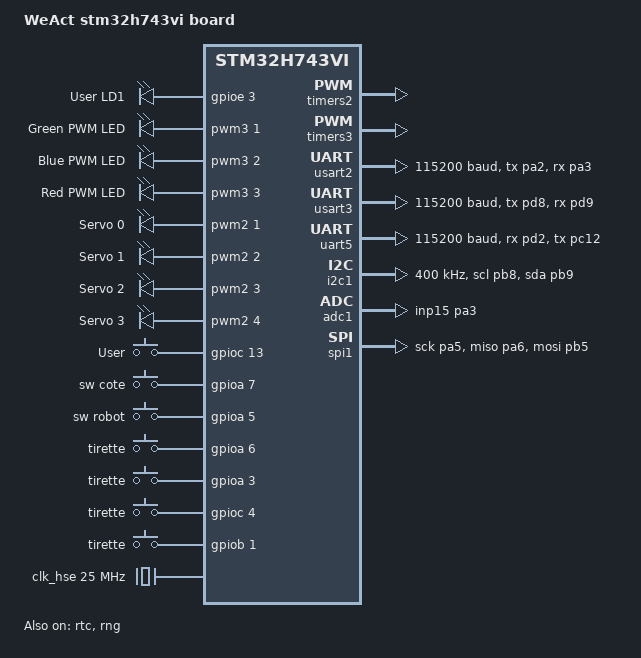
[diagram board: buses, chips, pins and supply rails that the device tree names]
/*
 * Copyright (c) 2020 Teslabs Engineering S.L.
 *
 * SPDX-License-Identifier: Apache-2.0
 */

/dts-v1/;
#include <st/h7/stm32h743Xi.dtsi>
#include <st/h7/stm32h743vitx-pinctrl.dtsi>

/ {
	model = "WeAct stm32h743vi board";
	compatible = "st,weact_stm32h743vi";

	chosen {
		zephyr,console = &usart3;
		zephyr,shell-uart = &usart3;
		zephyr,sram = &sram0;
		zephyr,flash = &flash0;
		zephyr,dtcm = &dtcm;
	};

	leds {
		compatible = "gpio-leds";
		blue_led: led_0 {
			gpios = <&gpioe 3 GPIO_ACTIVE_HIGH>;
			label = "User LD1";
		};
	};

	pwmleds {
		compatible = "pwm-leds";
		green_pwm_led: green_pwm_led {
			pwms = <&pwm3 1 0 PWM_POLARITY_NORMAL>;
			label = "Green PWM LED";
			status = "okay";
		};
		blue_pwm_led: blue_pwm_led {
			pwms = <&pwm3 2 0 PWM_POLARITY_NORMAL>;
			label = "Blue PWM LED";
			status = "okay";
		};
		red_pwm_led: red_pwm_led {
			pwms = <&pwm3 3 0 PWM_POLARITY_NORMAL>;
			label = "Red PWM LED";
			status = "okay";
		};
        servo_0: servo_0 {
            pwms = <&pwm2 1 0 PWM_POLARITY_NORMAL>;
            label = "Servo 0";
            status = "okay";
        };
        servo_1: servo_1 {
			pwms = <&pwm2 2 0 PWM_POLARITY_NORMAL>;
			label = "Servo 1";
			status = "okay";
		};
        servo_2: servo_2 {
			pwms = <&pwm2 3 0 PWM_POLARITY_NORMAL>;
			label = "Servo 2";
			status = "okay";
		};
		servo_3: servo_3 {
			pwms = <&pwm2 4 0 PWM_POLARITY_NORMAL>;
			label = "Servo 3";
			status = "okay";
		};
	};


    gpio_keys {
		user_button: button_user {
			label = "User";
			gpios = <&gpioc 13 GPIO_ACTIVE_HIGH>;
		};
        compatible = "gpio-keys";
        button0: button_0 {
            gpios = <&gpioa 7 GPIO_ACTIVE_HIGH>;
            label = "sw cote";
        };
        button1: button_1 {
            gpios = <&gpioa 5 GPIO_ACTIVE_HIGH>;
            label = "sw robot";
        };
        button2: button_2 {
            gpios = <&gpioa 6 GPIO_ACTIVE_HIGH>;
            label = "tirette";
        };
        button3: button_3 {
            gpios = <&gpioa 3 GPIO_ACTIVE_HIGH>;
            label = "tirette";
        };
        button4: button_4 {
            gpios = <&gpioc 4 GPIO_ACTIVE_HIGH>;
            label = "tirette";
        };
        button5: button_5 {
            gpios = <&gpiob 1 GPIO_ACTIVE_HIGH>;
            label = "tirette";
        };
    };

	aliases {
		led0 = &blue_led;
		sw0 = &user_button;
		camsense-uart = &usart2;
		stepper-bus = &uart5;
		red-pwm-led = &red_pwm_led;
		green-pwm-led = &green_pwm_led;
		blue-pwm-led = &blue_pwm_led;
		sw-cote = &button0;
        sw-robot = &button1;
        sw-tirette = &button2;
        sw-pump = &button3;
        sw-valve = &button4;
        sw-electromagnet = &button5;
		servo-orientation = &servo_0;
        servo-arm = &servo_1;
        servo-dicristaline1 = &servo_2;
        servo-dicristaline2 = &servo_3;
	};
};

&timers2 {
    st,prescaler = <10000>;
    status = "okay";

	pwm2: pwm {
		status = "okay";
		pinctrl-0 = <&tim2_ch1_pa15 &tim2_ch2_pb3 &tim2_ch3_pb10 &tim2_ch4_pb11>;
		pinctrl-names = "default";
	};
};

&timers3 {
	st,prescaler = <10000>;
	status = "okay";

	pwm3: pwm {
		status = "okay";
		pinctrl-0 = <&tim3_ch1_pb4 &tim3_ch2_pb5 &tim3_ch4_pc9>;
		pinctrl-names = "default";
	};
};


&clk_hse {
	clock-frequency = <DT_FREQ_M(25)>;
	status = "okay";
};

&clk_lse {
	status = "okay";
};

&pll {
	div-m = <5>;
	mul-n = <192>;
	div-p = <2>;
	div-q = <2>;
	div-r = <2>;
	clocks = <&clk_hse>;
	status = "okay";
};

&rcc {
	clocks = <&pll>;
	clock-frequency = <DT_FREQ_M(480)>;
	d1cpre = <1>;
	hpre = <2>;
	d1ppre = <2>;
	d2ppre1 = <2>;
	d2ppre2 = <2>;
	d3ppre = <2>;
};

&usart2 {
	pinctrl-0 = <&usart2_tx_pa2 &usart2_rx_pa3>;
	pinctrl-names = "default";
	current-speed = <115200>;
	status = "okay";
};


&usart3 {
	pinctrl-0 = <&usart3_tx_pd8 &usart3_rx_pd9>;
	pinctrl-names = "default";
	current-speed = <115200>;
	status = "okay";
};

&uart5 {
    status = "okay";
    current-speed = < 115200 >;
    pinctrl-0 = < &uart5_rx_pd2 &uart5_tx_pc12 >;
    pinctrl-names = "default";
    single-wire;
};

&rtc {
	status = "okay";
};

&i2c1 {
	pinctrl-0 = <&i2c1_scl_pb8 &i2c1_sda_pb9>;
	pinctrl-names = "default";
	status = "okay";
	clock-frequency = <I2C_BITRATE_FAST>;
};

&adc1 {
	pinctrl-0 = <&adc1_inp15_pa3>;
	pinctrl-names = "default";
	status = "okay";
};

&rng {
	status = "okay";
};

&spi1 {
	status = "okay";
	pinctrl-names = "default";
	pinctrl-0 = <&spi1_sck_pa5 &spi1_miso_pa6 &spi1_mosi_pb5>;
};
